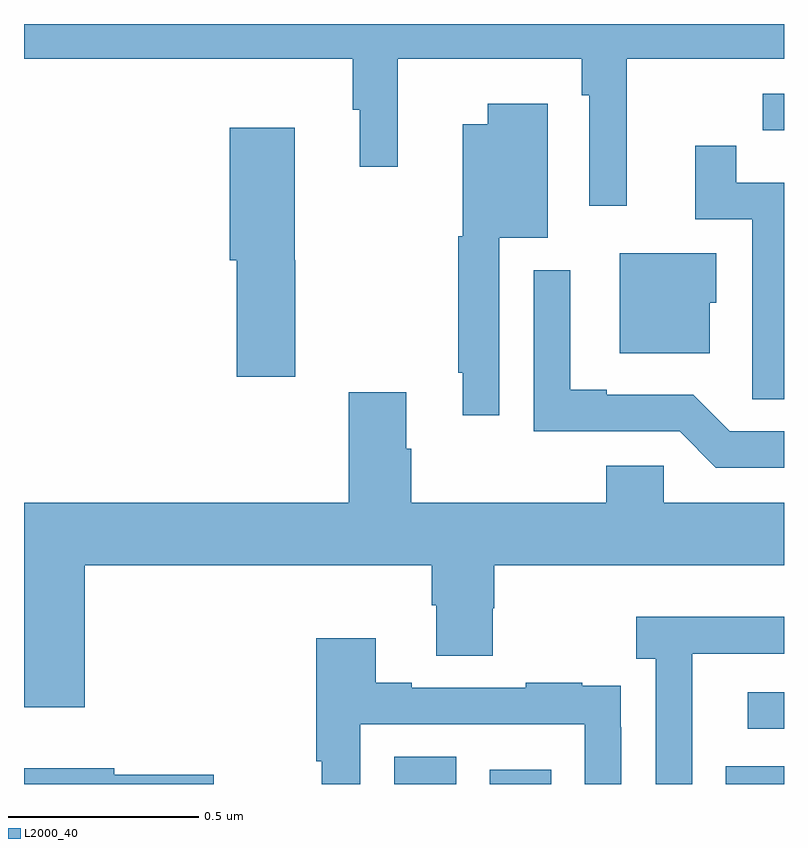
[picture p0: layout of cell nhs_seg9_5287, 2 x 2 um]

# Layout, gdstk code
import gdstk
lib = gdstk.Library(unit=1e-6, precision=1e-09)
def R(c, l, rs):  # rectangles x0, y0, x1, y1
    for r in rs: c.add(gdstk.rectangle(r[:2], r[2:], *l))
def P(c, l, *ps):  # polygons
    for p in ps: c.add(gdstk.Polygon(p, *l))
L2000_40 = (2000, 40)

nhs_seg9_5287 = lib.new_cell('nhs_seg9_5287')
R(nhs_seg9_5287, L2000_40, [(177.974,1206.5,178.138,1206.572), (178.226,1206.5,178.387,1206.538), (178.847,1206.5,179,1206.547), (178.905,1206.645,179,1206.741), (178.944,1208.22,179,1208.316)])
P(nhs_seg9_5287, L2000_40, [(178.586,1208.408),(179,1208.408),(179,1208.5),(177,1208.5),(177,1208.408),(177.865,1208.408),(177.865,1208.274),(177.884,1208.274),(177.884,1208.124),(177.984,1208.124),(177.984,1208.408),(178.468,1208.408),(178.468,1208.312),(178.488,1208.312),(178.488,1208.022),(178.586,1208.022)],
  [(178.251,1207.937),(178.378,1207.937),(178.378,1208.29),(178.22,1208.29),(178.22,1208.236),(178.154,1208.236),(178.154,1207.941),(178.143,1207.941),(178.143,1207.582),(178.154,1207.582),(178.154,1207.47),(178.251,1207.47)],
  [(177.714,1207.878),(177.712,1207.878),(177.712,1208.227),(177.542,1208.227),(177.542,1207.878),(177.56,1207.878),(177.56,1207.572),(177.714,1207.572)],
  [(179,1208.082),(178.874,1208.082),(178.874,1208.179),(178.766,1208.179),(178.766,1207.986),(178.916,1207.986),(178.916,1207.624),(178.917,1207.624),(178.917,1207.513),(179,1207.513)],
  [(178.804,1207.767),(178.822,1207.767),(178.822,1207.897),(178.568,1207.897),(178.568,1207.634),(178.804,1207.634)],
  [(179,1207.428),(178.857,1207.428),(178.761,1207.524),(178.534,1207.524),(178.534,1207.537),(178.438,1207.537),(178.438,1207.852),(178.341,1207.852),(178.341,1207.428),(178.725,1207.428),(178.821,1207.332),(179,1207.332)],
  [(177.16,1207.076),(178.073,1207.076),(178.073,1206.97),(178.085,1206.97),(178.085,1206.838),(178.233,1206.838),(178.233,1206.963),(178.238,1206.963),(178.238,1207.076),(179,1207.076),(179,1207.24),(178.683,1207.24),(178.683,1207.338),(178.532,1207.338),(178.532,1207.24),(178.019,1207.24),(178.019,1207.382),(178.006,1207.382),(178.006,1207.531),(177.854,1207.531),(177.854,1207.24),(177,1207.24),(177,1206.702),(177.16,1206.702)],
  [(178.758,1206.643),(178.759,1206.643),(178.759,1206.843),(179,1206.843),(179,1206.94),(178.611,1206.94),(178.611,1206.83),(178.662,1206.83),(178.662,1206.5),(178.758,1206.5)],
  [(177.885,1206.657),(178.476,1206.657),(178.476,1206.5),(178.572,1206.5),(178.572,1206.65),(178.571,1206.65),(178.571,1206.759),(178.469,1206.759),(178.469,1206.766),(178.321,1206.766),(178.321,1206.753),(178.021,1206.753),(178.021,1206.766),(177.925,1206.766),(177.925,1206.883),(177.769,1206.883),(177.769,1206.56),(177.784,1206.56),(177.784,1206.5),(177.885,1206.5)],
  [(177.499,1206.524),(177.238,1206.524),(177.238,1206.541),(177,1206.541),(177,1206.5),(177.499,1206.5)])

lib.write_gds('nhs_seg9_5287.gds')
